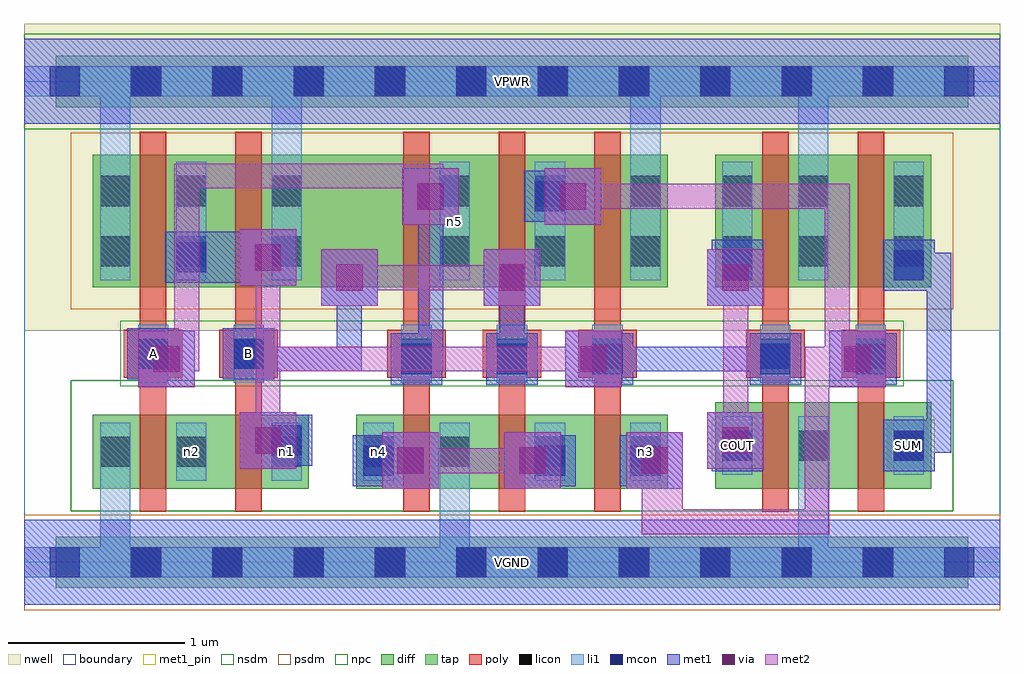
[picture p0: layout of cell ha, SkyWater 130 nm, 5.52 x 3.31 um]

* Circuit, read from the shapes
.subckt ha A B COUT SUM VGND VPWR n1 n2 n3 n4 n5
XM1 n2 A VGND VGND sky130_fd_pr__nfet_01v8 w=0.42 l=0.15
XM2 n1 B n2 VGND sky130_fd_pr__nfet_01v8 w=0.42 l=0.15
XM3 VGND A n4 VGND sky130_fd_pr__nfet_01v8 w=0.42 l=0.15
XM4 n4 B VGND VGND sky130_fd_pr__nfet_01v8 w=0.42 l=0.15
XM5 n3 n1 n4 VGND sky130_fd_pr__nfet_01v8 w=0.42 l=0.15
XM6 VGND n1 COUT VGND sky130_fd_pr__nfet_01v8 w=0.49 l=0.15
XM7 SUM n3 VGND VGND sky130_fd_pr__nfet_01v8 w=0.49 l=0.15
XM8 n1 A VPWR VPWR sky130_fd_pr__pfet_01v8 w=0.75 l=0.15
XM9 VPWR B n1 VPWR sky130_fd_pr__pfet_01v8 w=0.75 l=0.15
XM10 n5 A VPWR VPWR sky130_fd_pr__pfet_01v8 w=0.75 l=0.15
XM11 n3 B n5 VPWR sky130_fd_pr__pfet_01v8 w=0.75 l=0.15
XM12 VPWR n1 n3 VPWR sky130_fd_pr__pfet_01v8 w=0.75 l=0.15
XM13 VPWR n1 COUT VPWR sky130_fd_pr__pfet_01v8 w=0.75 l=0.15
XM14 SUM n3 VPWR VPWR sky130_fd_pr__pfet_01v8 w=0.75 l=0.15
.ends

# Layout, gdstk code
import gdstk
lib = gdstk.Library(unit=1e-6, precision=1e-09)
def R(c, l, rs):  # rectangles x0, y0, x1, y1
    for r in rs: c.add(gdstk.rectangle(r[:2], r[2:], *l))
def A(c, l, x, y, w, h, nx, ny, dx, dy):  # array of equal rectangles
    R(c, l, [(x+i*dx, y+j*dy, x+i*dx+w, y+j*dy+h) for i in range(nx) for j in range(ny)])
nwell = (64, 20)
diff = (65, 20)
tap = (65, 44)
poly = (66, 20)
licon = (66, 44)
li1 = (67, 20)
mcon = (67, 44)
met1_pin = (68, 16)
met1 = (68, 20)
via = (68, 44)
met2 = (69, 20)
nsdm = (93, 44)
psdm = (94, 20)
npc = (95, 20)
boundary = (235, 4)

c_ha = lib.new_cell('ha')
R(c_ha, nwell, [(0,1.31,5.52,3.045)])
R(c_ha, diff, [(0.39,0.415,1.61,0.835), (1.88,0.415,3.64,0.835), (3.91,0.415,5.13,0.905), (0.39,1.555,3.64,2.305), (3.91,1.555,5.13,2.305)])
R(c_ha, tap, [(0.18,-0.145,5.34,0.145), (0.18,2.575,5.34,2.865)])
A(c_ha, poly, 2.145, 0.285, 0.15, 2.15, 3, 1, 0.54, 0)
A(c_ha, poly, 2.055, 1.045, 0.33, 0.27, 3, 1, 0.54, 0)
R(c_ha, poly, [(0.655,0.285,0.805,2.435), (1.195,0.285,1.345,2.435), (4.175,0.285,4.325,2.435), (4.715,0.285,4.865,2.435), (0.565,1.045,0.895,1.315), (1.105,1.045,1.435,1.315), (4.085,1.045,4.415,1.315), (4.625,1.045,4.955,1.315)])
A(c_ha, licon, 0.605, -0.085, 0.17, 0.17, 10, 2, 0.46, 2.72)
A(c_ha, licon, 2.35, 0.54, 0.17, 0.17, 3, 2, 0.54, 1.135)
A(c_ha, licon, 2.135, 1.095, 0.17, 0.17, 3, 1, 0.54, 0)
A(c_ha, licon, 2.35, 2.015, 0.17, 0.17, 3, 1, 0.54, 0)
R(c_ha, licon, [(0.43,0.54,0.6,0.71), (0.86,0.54,1.03,0.71), (1.4,0.54,1.57,0.71), (1.92,0.54,2.09,0.71), (3.95,0.575,4.12,0.745), (4.38,0.575,4.55,0.745), (4.92,0.575,5.09,0.745), (0.645,1.095,0.815,1.265), (1.185,1.095,1.355,1.265), (4.165,1.095,4.335,1.265), (4.705,1.095,4.875,1.265), (0.43,1.675,0.6,1.845), (0.86,1.675,1.03,1.845), (1.4,1.675,1.57,1.845), (3.95,1.675,4.12,1.845), (4.38,1.675,4.55,1.845), (4.92,1.675,5.09,1.845), (0.43,2.015,0.6,2.185), (0.86,2.015,1.03,2.185), (1.4,2.015,1.57,2.185), (3.95,2.015,4.12,2.185), (4.38,2.015,4.55,2.185), (4.92,2.015,5.09,2.185)])
A(c_ha, li1, 2.35, 0.46, 0.17, 0.33, 3, 1, 0.54, 0)
A(c_ha, li1, 2.135, 1.015, 0.17, 0.33, 3, 1, 0.54, 0)
A(c_ha, li1, 2.35, 1.595, 0.17, 0.67, 3, 1, 0.54, 0)
R(c_ha, li1, [(0,-0.085,5.52,0.085), (0.43,-0.085,0.6,0.79), (2.35,-0.085,2.52,0.79), (4.38,-0.085,4.55,0.825), (0.43,0.46,0.6,0.79), (0.86,0.46,1.03,0.79), (1.4,0.46,1.57,0.79), (1.92,0.46,2.09,0.79), (3.95,0.495,4.12,0.825), (4.38,0.495,4.55,0.825), (4.92,0.495,5.09,0.825), (0.645,1.015,0.815,1.345), (1.185,1.015,1.355,1.345), (4.165,1.015,4.335,1.345), (4.705,1.015,4.875,1.345), (0.43,1.595,0.6,2.265), (0.43,1.595,0.6,2.805), (0.86,1.595,1.03,2.265), (1.4,1.595,1.57,2.265), (1.4,1.595,1.57,2.805), (3.43,1.595,3.6,2.805), (3.95,1.595,4.12,2.265), (4.38,1.595,4.55,2.265), (4.38,1.595,4.55,2.805), (4.92,1.595,5.09,2.265), (0,2.635,5.52,2.805)])
A(c_ha, mcon, 0.145, -0.085, 0.17, 0.17, 12, 2, 0.46, 2.72)
A(c_ha, mcon, 2.135, 1.065, 0.17, 0.17, 3, 1, 0.54, 0)
R(c_ha, mcon, [(1.92,0.49,2.09,0.66), (2.89,0.49,3.06,0.66), (3.43,0.49,3.6,0.66), (3.95,0.575,4.12,0.745), (4.92,0.575,5.09,0.745), (1.4,0.605,1.57,0.775), (4.165,1.065,4.335,1.235), (4.705,1.065,4.875,1.235), (0.645,1.095,0.815,1.265), (1.185,1.095,1.355,1.265), (3.95,1.595,4.12,1.765), (4.92,1.595,5.09,1.765), (0.86,1.64,1.03,1.81), (2.89,1.985,3.06,2.155)])
R(c_ha, met1_pin, [(0,-0.24,5.52,0.24), (3.89,0.515,4.18,0.805), (4.86,0.515,5.15,0.805), (0.585,1.035,0.875,1.325), (1.125,1.035,1.415,1.325), (0,2.48,5.52,2.96)])
A(c_ha, met1, 2.025, 0.415, 0.32, 0.32, 3, 1, 0.69, 0)
A(c_ha, met1, 2.075, 1.005, 0.29, 0.29, 3, 1, 0.54, 0)
R(c_ha, met1, [(0,-0.24,5.52,0.24), (1.86,0.43,2.15,0.72), (2.83,0.43,3.12,0.72), (3.37,0.43,3.66,0.72), (1.935,0.505,2.255,0.645), (2.805,0.505,3.045,0.645), (3.445,0.505,3.635,0.645), (3.89,0.515,4.18,0.805), (4.86,0.515,5.15,0.805), (1.22,0.53,1.54,0.85), (3.865,0.53,4.185,0.85), (1.34,0.545,1.63,0.835), (1.31,0.62,1.555,0.76), (3.955,0.62,4.095,0.76), (4.99,0.62,5.13,0.76), (4.99,0.62,5.245,0.76), (5.105,0.62,5.245,1.565), (0.645,0.99,0.965,1.31), (3.06,0.99,3.38,1.31), (4.555,0.99,4.875,1.31), (4.105,1.005,4.395,1.295), (4.645,1.005,4.935,1.295), (0.585,1.035,0.875,1.325), (1.125,1.035,1.415,1.325), (0.735,1.08,0.875,1.22), (1.195,1.08,1.335,1.22), (1.195,1.08,1.91,1.22), (1.77,1.08,1.91,1.68), (2.15,1.08,2.37,1.22), (2.23,1.08,2.37,2.14), (2.69,1.08,2.83,1.68), (3.15,1.08,3.37,1.22), (3.15,1.08,4.21,1.22), (4.07,1.08,4.32,1.22), (4.645,1.08,4.86,1.22), (5.105,1.425,5.245,1.75), (1.68,1.45,2,1.77), (2.6,1.45,2.92,1.77), (3.865,1.45,4.185,1.77), (3.89,1.535,4.18,1.825), (4.86,1.535,5.15,1.825), (3.955,1.54,4.095,1.75), (1.22,1.565,1.54,1.885), (0.8,1.58,1.09,1.87), (1.09,1.58,1.22,1.87), (3.955,1.61,4.105,1.75), (4.935,1.61,5.245,1.75), (0.875,1.655,1.105,1.795), (0.965,1.655,1.45,1.795), (2.14,1.91,2.46,2.23), (2.945,1.91,3.265,2.23), (2.83,1.925,3.12,2.215), (2.905,2,3.175,2.14), (0,2.48,5.52,2.96)])
A(c_ha, via, 2.11, 0.5, 0.15, 0.15, 3, 1, 0.69, 0)
R(c_ha, via, [(1.305,0.615,1.455,0.765), (3.95,0.615,4.1,0.765), (0.73,1.075,0.88,1.225), (3.145,1.075,3.295,1.225), (4.64,1.075,4.79,1.225), (1.765,1.535,1.915,1.685), (2.685,1.535,2.835,1.685), (3.95,1.535,4.1,1.685), (1.305,1.65,1.455,1.8), (2.225,1.995,2.375,2.145), (3.03,1.995,3.18,2.145)])
A(c_ha, met2, 2.025, 0.415, 0.32, 0.32, 3, 1, 0.69, 0)
R(c_ha, met2, [(3.495,0.16,3.635,0.645), (3.495,0.16,4.555,0.3), (4.415,0.16,4.555,1.22), (3.495,0.3,3.725,0.415), (2.115,0.505,2.945,0.645), (1.22,0.53,1.54,0.85), (3.865,0.53,4.185,0.85), (1.31,0.62,1.45,1.795), (3.955,0.62,4.095,1.68), (0.645,0.99,0.965,1.31), (3.06,0.99,3.38,1.31), (4.555,0.99,4.875,1.31), (0.735,1.08,0.99,1.22), (0.85,1.08,0.99,2.255), (1.31,1.08,3.29,1.22), (4.415,1.08,4.785,1.22), (4.53,1.08,4.67,2.14), (1.68,1.45,2,1.77), (2.6,1.45,2.92,1.77), (3.865,1.45,4.185,1.77), (1.77,1.54,2.83,1.68), (1.22,1.565,1.54,1.885), (2.14,1.91,2.46,2.23), (2.945,1.91,3.265,2.23), (2.23,2,2.37,2.255), (3.035,2,4.67,2.14), (0.85,2.115,2.37,2.255)])
R(c_ha, nsdm, [(0.265,0.29,5.255,1.03), (0,2.45,5.52,2.99)])
R(c_ha, psdm, [(0,-0.27,5.52,0.27), (0.265,1.43,5.255,2.43)])
R(c_ha, npc, [(0.545,0.995,4.975,1.365)])
R(c_ha, boundary, [(0,0,5.52,2.72)])
c_ha.add(gdstk.Label('n2', (0.945,0.625), layer=67, texttype=5))
c_ha.add(gdstk.Label('n1', (1.485,0.625), layer=67, texttype=5))
c_ha.add(gdstk.Label('n4', (2.005,0.625), layer=67, texttype=5))
c_ha.add(gdstk.Label('n3', (3.515,0.625), layer=67, texttype=5))
c_ha.add(gdstk.Label('n5', (2.435,1.93), layer=67, texttype=5))
c_ha.add(gdstk.Label('A', (0.73,1.18), layer=68, texttype=5))
c_ha.add(gdstk.Label('B', (1.27,1.18), layer=68, texttype=5))
c_ha.add(gdstk.Label('COUT', (4.035,0.66), layer=68, texttype=5))
c_ha.add(gdstk.Label('SUM', (5.005,0.66), layer=68, texttype=5))
c_ha.add(gdstk.Label('VPWR', (2.76,2.72), layer=68, texttype=5))
c_ha.add(gdstk.Label('VGND', (2.76,0), layer=68, texttype=5))
c_ha.add(gdstk.Label('A', (0.73,1.18), layer=68, texttype=16))
c_ha.add(gdstk.Label('B', (1.27,1.18), layer=68, texttype=16))
c_ha.add(gdstk.Label('COUT', (4.035,0.66), layer=68, texttype=16))
c_ha.add(gdstk.Label('SUM', (5.005,0.66), layer=68, texttype=16))
c_ha.add(gdstk.Label('VPWR', (2.76,2.72), layer=68, texttype=16))
c_ha.add(gdstk.Label('VGND', (2.76,0), layer=68, texttype=16))

lib.write_gds('ha.gds')
